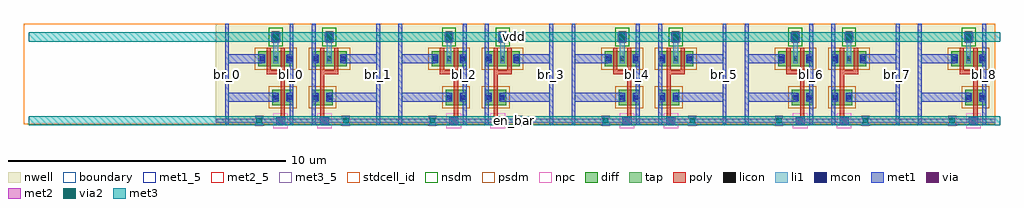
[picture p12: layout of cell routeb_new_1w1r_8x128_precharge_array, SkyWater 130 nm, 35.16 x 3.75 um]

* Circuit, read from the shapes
.subckt routeb_new_1w1r_8x128_precharge_array bl_0 bl_1 bl_2 bl_3 bl_4 bl_5 bl_6 bl_7 bl_8 br_0 br_1 br_2 br_3 br_4 br_5 br_6 br_7 br_8 en_bar vdd
XM1 vdd en_bar br_0 vdd sky130_fd_pr__pfet_01v8 w=0.55 l=0.15
XM2 bl_0 en_bar br_0 vdd sky130_fd_pr__pfet_01v8 w=0.55 l=0.15
XM3 bl_0 en_bar vdd vdd sky130_fd_pr__pfet_01v8 w=0.55 l=0.15
XM4 br_1 en_bar bl_1 vdd sky130_fd_pr__pfet_01v8 w=0.55 l=0.15
XM5 vdd en_bar bl_1 vdd sky130_fd_pr__pfet_01v8 w=0.55 l=0.15
XM6 br_1 en_bar vdd vdd sky130_fd_pr__pfet_01v8 w=0.55 l=0.15
XM7 vdd en_bar br_2 vdd sky130_fd_pr__pfet_01v8 w=0.55 l=0.15
XM8 bl_2 en_bar br_2 vdd sky130_fd_pr__pfet_01v8 w=0.55 l=0.15
XM9 bl_2 en_bar vdd vdd sky130_fd_pr__pfet_01v8 w=0.55 l=0.15
XM10 br_3 en_bar bl_3 vdd sky130_fd_pr__pfet_01v8 w=0.55 l=0.15
XM11 vdd en_bar bl_3 vdd sky130_fd_pr__pfet_01v8 w=0.55 l=0.15
XM12 br_3 en_bar vdd vdd sky130_fd_pr__pfet_01v8 w=0.55 l=0.15
XM13 vdd en_bar br_4 vdd sky130_fd_pr__pfet_01v8 w=0.55 l=0.15
XM14 bl_4 en_bar br_4 vdd sky130_fd_pr__pfet_01v8 w=0.55 l=0.15
XM15 bl_4 en_bar vdd vdd sky130_fd_pr__pfet_01v8 w=0.55 l=0.15
XM16 br_5 en_bar bl_5 vdd sky130_fd_pr__pfet_01v8 w=0.55 l=0.15
XM17 vdd en_bar bl_5 vdd sky130_fd_pr__pfet_01v8 w=0.55 l=0.15
XM18 br_5 en_bar vdd vdd sky130_fd_pr__pfet_01v8 w=0.55 l=0.15
XM19 vdd en_bar br_6 vdd sky130_fd_pr__pfet_01v8 w=0.55 l=0.15
XM20 bl_6 en_bar br_6 vdd sky130_fd_pr__pfet_01v8 w=0.55 l=0.15
XM21 bl_6 en_bar vdd vdd sky130_fd_pr__pfet_01v8 w=0.55 l=0.15
XM22 br_7 en_bar bl_7 vdd sky130_fd_pr__pfet_01v8 w=0.55 l=0.15
XM23 vdd en_bar bl_7 vdd sky130_fd_pr__pfet_01v8 w=0.55 l=0.15
XM24 br_7 en_bar vdd vdd sky130_fd_pr__pfet_01v8 w=0.55 l=0.15
XM25 vdd en_bar br_8 vdd sky130_fd_pr__pfet_01v8 w=0.55 l=0.15
XM26 bl_8 en_bar br_8 vdd sky130_fd_pr__pfet_01v8 w=0.55 l=0.15
XM27 bl_8 en_bar vdd vdd sky130_fd_pr__pfet_01v8 w=0.55 l=0.15
.ends

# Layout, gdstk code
from math import pi, radians
import gdstk
lib = gdstk.Library(unit=1e-6, precision=1e-09)
def R(c, l, rs):  # rectangles x0, y0, x1, y1
    for r in rs: c.add(gdstk.rectangle(r[:2], r[2:], *l))
def A(c, l, x, y, w, h, nx, ny, dx, dy):  # array of equal rectangles
    R(c, l, [(x+i*dx, y+j*dy, x+i*dx+w, y+j*dy+h) for i in range(nx) for j in range(ny)])
nwell = (64, 20)
diff = (65, 20)
tap = (65, 44)
poly = (66, 20)
licon = (66, 44)
li1 = (67, 20)
mcon = (67, 44)
met1_5 = (68, 5)
met1 = (68, 20)
via = (68, 44)
met2_5 = (69, 5)
met2 = (69, 20)
via2 = (69, 44)
met3_5 = (70, 5)
met3 = (70, 20)
stdcell_id = (81, 4)
nsdm = (93, 44)
psdm = (94, 20)
npc = (95, 20)
boundary = (235, 4)

routeb_new_1w1r_8x128_co = lib.new_cell('routeb_new_1w1r_8x128_contact_11')
R(routeb_new_1w1r_8x128_co, nwell, [(-0.295,-0.255,0.545,0.585)])
R(routeb_new_1w1r_8x128_co, diff, [(0,0.02,0.25,0.31)])
R(routeb_new_1w1r_8x128_co, licon, [(0.04,0.08,0.21,0.25)])
R(routeb_new_1w1r_8x128_co, li1, [(0.04,0,0.21,0.33)])
R(routeb_new_1w1r_8x128_co, stdcell_id, [(-0.295,-0.255,0.545,0.585)])
R(routeb_new_1w1r_8x128_co, psdm, [(-0.125,-0.105,0.375,0.435)])
R(routeb_new_1w1r_8x128_co, boundary, [(-0.295,-0.255,0.545,0.585)])

routeb_new_1w1r_8x128_pm = lib.new_cell('routeb_new_1w1r_8x128_pmos_m1_w0_550_sli_dli')
R(routeb_new_1w1r_8x128_pm, nwell, [(-0.27,-0.27,1.02,0.82)])
R(routeb_new_1w1r_8x128_pm, diff, [(0,0,0.75,0.55)])
R(routeb_new_1w1r_8x128_pm, poly, [(0.3,-0.13,0.45,0.68), (0.3,-0.13,0.45,0.68)])
R(routeb_new_1w1r_8x128_pm, li1, [(0.04,0.11,0.21,0.44), (0.54,0.11,0.71,0.44)])
R(routeb_new_1w1r_8x128_pm, stdcell_id, [(-0.27,-0.27,1.02,0.82)])
R(routeb_new_1w1r_8x128_pm, psdm, [(-0.125,-0.125,0.875,0.675)])
R(routeb_new_1w1r_8x128_pm, boundary, [(-0.27,-0.27,1.02,0.82)])
routeb_new_1w1r_8x128_pm.add(gdstk.Reference(routeb_new_1w1r_8x128_co, (0,0.11)))
routeb_new_1w1r_8x128_pm.add(gdstk.Reference(routeb_new_1w1r_8x128_co, (0.5,0.11)))
routeb_new_1w1r_8x128_pm.add(gdstk.Label('G', (0.375,0.275), layer=66, texttype=5))
routeb_new_1w1r_8x128_pm.add(gdstk.Label('S', (0.125,0.275), layer=67, texttype=5))
routeb_new_1w1r_8x128_pm.add(gdstk.Label('D', (0.625,0.275), layer=67, texttype=5))

c_routeb_new_1w1r_8x128_co = lib.new_cell('routeb_new_1w1r_8x128_contact_15')
R(c_routeb_new_1w1r_8x128_co, poly, [(0,0,0.33,0.33)])
R(c_routeb_new_1w1r_8x128_co, licon, [(0.08,0.08,0.25,0.25)])
R(c_routeb_new_1w1r_8x128_co, li1, [(0.08,0,0.25,0.33)])
R(c_routeb_new_1w1r_8x128_co, stdcell_id, [(-0.1,-0.1,0.43,0.43)])
R(c_routeb_new_1w1r_8x128_co, npc, [(-0.1,-0.1,0.43,0.43)])
R(c_routeb_new_1w1r_8x128_co, boundary, [(-0.1,-0.1,0.43,0.43)])

c_routeb_new_1w1r_8x128_co_ = lib.new_cell('routeb_new_1w1r_8x128_contact_13')
R(c_routeb_new_1w1r_8x128_co_, li1, [(0.06,0,0.23,0.33)])
R(c_routeb_new_1w1r_8x128_co_, mcon, [(0.06,0.08,0.23,0.25)])
R(c_routeb_new_1w1r_8x128_co_, met1, [(0,0.05,0.29,0.28)])
R(c_routeb_new_1w1r_8x128_co_, stdcell_id, [(0,0,0.29,0.33)])
R(c_routeb_new_1w1r_8x128_co_, boundary, [(0,0,0.29,0.33)])

c_routeb_new_1w1r_8x128_co__ = lib.new_cell('routeb_new_1w1r_8x128_contact_18')
R(c_routeb_new_1w1r_8x128_co__, met1, [(0,0.03,0.32,0.29)])
R(c_routeb_new_1w1r_8x128_co__, via, [(0.085,0.085,0.235,0.235)])
R(c_routeb_new_1w1r_8x128_co__, met2, [(0.03,0,0.29,0.32)])
R(c_routeb_new_1w1r_8x128_co__, stdcell_id, [(0,0,0.32,0.32)])
R(c_routeb_new_1w1r_8x128_co__, boundary, [(0,0,0.32,0.32)])

c_routeb_new_1w1r_8x128_co___ = lib.new_cell('routeb_new_1w1r_8x128_contact_12')
R(c_routeb_new_1w1r_8x128_co___, nwell, [(-0.295,-0.215,0.545,0.625)])
R(c_routeb_new_1w1r_8x128_co___, tap, [(0,0,0.25,0.41)])
R(c_routeb_new_1w1r_8x128_co___, licon, [(0.04,0.12,0.21,0.29)])
R(c_routeb_new_1w1r_8x128_co___, li1, [(0.04,0.04,0.21,0.37)])
R(c_routeb_new_1w1r_8x128_co___, stdcell_id, [(-0.295,-0.215,0.545,0.625)])
R(c_routeb_new_1w1r_8x128_co___, nsdm, [(-0.125,-0.125,0.375,0.535)])
R(c_routeb_new_1w1r_8x128_co___, boundary, [(-0.295,-0.215,0.545,0.625)])

c_routeb_new_1w1r_8x128_co____ = lib.new_cell('routeb_new_1w1r_8x128_contact_23')
R(c_routeb_new_1w1r_8x128_co____, li1, [(0.03,0,0.2,0.33)])
R(c_routeb_new_1w1r_8x128_co____, mcon, [(0.03,0.08,0.2,0.25)])
R(c_routeb_new_1w1r_8x128_co____, met1, [(0,0.02,0.23,0.31)])
R(c_routeb_new_1w1r_8x128_co____, stdcell_id, [(0,0,0.23,0.33)])
R(c_routeb_new_1w1r_8x128_co____, boundary, [(0,0,0.23,0.33)])

routeb_new_1w1r_8x128_pr = lib.new_cell('routeb_new_1w1r_8x128_precharge_0')
R(routeb_new_1w1r_8x128_pr, nwell, [(0,0,3.12,3.61)])
R(routeb_new_1w1r_8x128_pr, poly, [(0.64,0.05,0.79,0.2), (0.715,0.05,0.79,0.2), (0.64,0.125,0.79,0.56), (0.64,1.37,0.79,1.95), (0.64,1.8,1.29,1.95)])
R(routeb_new_1w1r_8x128_pr, li1, [(0.88,2.355,1.05,3.14), (0.88,3.055,1.05,3.225)])
R(routeb_new_1w1r_8x128_pr, met1_5, [(0.33,0,0.47,3.61), (2.65,0,2.79,3.61)])
R(routeb_new_1w1r_8x128_pr, met1, [(0.63,-0.005,0.95,0.255), (0.33,0,0.47,3.61), (0.33,0,0.47,3.61), (2.65,0,2.79,3.61), (2.65,0,2.79,3.61), (0.4,0.8,0.465,1.13), (0.965,0.8,2.72,1.13), (0.4,2.19,0.465,2.52), (1.465,2.19,2.72,2.52)])
R(routeb_new_1w1r_8x128_pr, met2_5, [(0,0.055,3.12,0.195)])
R(routeb_new_1w1r_8x128_pr, met2, [(0,0.055,3.12,0.195)])
R(routeb_new_1w1r_8x128_pr, stdcell_id, [(0,0,3.12,3.61)])
R(routeb_new_1w1r_8x128_pr, boundary, [(0,0,3.12,3.61)])
routeb_new_1w1r_8x128_pr.add(gdstk.Reference(routeb_new_1w1r_8x128_pm, (0.34,0.69)))
routeb_new_1w1r_8x128_pr.add(gdstk.Reference(routeb_new_1w1r_8x128_pm, (0.34,2.08)))
routeb_new_1w1r_8x128_pr.add(gdstk.Reference(routeb_new_1w1r_8x128_pm, (0.84,2.08)))
routeb_new_1w1r_8x128_pr.add(gdstk.Reference(c_routeb_new_1w1r_8x128_co, (0.625,-0.04)))
routeb_new_1w1r_8x128_pr.add(gdstk.Reference(c_routeb_new_1w1r_8x128_co_, (0.645,-0.04)))
routeb_new_1w1r_8x128_pr.add(gdstk.Reference(c_routeb_new_1w1r_8x128_co__, (0.63,-0.035)))
routeb_new_1w1r_8x128_pr.add(gdstk.Reference(c_routeb_new_1w1r_8x128_co___, (0.84,2.935)))
routeb_new_1w1r_8x128_pr.add(gdstk.Reference(c_routeb_new_1w1r_8x128_co_, (0.82,2.975)))
routeb_new_1w1r_8x128_pr.add(gdstk.Reference(c_routeb_new_1w1r_8x128_co____, (0.35,0.8)))
routeb_new_1w1r_8x128_pr.add(gdstk.Reference(c_routeb_new_1w1r_8x128_co____, (0.85,0.8)))
routeb_new_1w1r_8x128_pr.add(gdstk.Reference(c_routeb_new_1w1r_8x128_co____, (0.35,2.19)))
routeb_new_1w1r_8x128_pr.add(gdstk.Reference(c_routeb_new_1w1r_8x128_co____, (1.35,2.19)))
routeb_new_1w1r_8x128_pr.add(gdstk.Label('en_bar', (1.56,0.125), layer=69, texttype=5))
routeb_new_1w1r_8x128_pr.add(gdstk.Label('vdd', (0.965,3.14), layer=67, texttype=5))
routeb_new_1w1r_8x128_pr.add(gdstk.Label('bl', (0.4,1.805), layer=68, texttype=5))
routeb_new_1w1r_8x128_pr.add(gdstk.Label('br', (2.72,1.805), layer=68, texttype=5))

c_routeb_new_1w1r_8x128_co_____ = lib.new_cell('routeb_new_1w1r_8x128_contact_21')
R(c_routeb_new_1w1r_8x128_co_____, met2, [(0.025,0,0.305,0.37)])
R(c_routeb_new_1w1r_8x128_co_____, via2, [(0.065,0.085,0.265,0.285)])
R(c_routeb_new_1w1r_8x128_co_____, met3, [(0,0.02,0.33,0.35)])
R(c_routeb_new_1w1r_8x128_co_____, stdcell_id, [(0,0,0.33,0.37)])
R(c_routeb_new_1w1r_8x128_co_____, boundary, [(0,0,0.33,0.37)])

c_routeb_new_1w1r_8x128_pr = lib.new_cell('routeb_new_1w1r_8x128_precharge_array')
R(c_routeb_new_1w1r_8x128_pr, met1_5, [(7.245,0,7.385,3.61), (9.565,0,9.705,3.61), (10.365,0,10.505,3.61), (12.685,0,12.825,3.61), (13.485,0,13.625,3.61), (15.805,0,15.945,3.61), (16.605,0,16.745,3.61), (18.925,0,19.065,3.61), (19.725,0,19.865,3.61), (22.045,0,22.185,3.61), (22.845,0,22.985,3.61), (25.165,0,25.305,3.61), (25.965,0,26.105,3.61), (28.285,0,28.425,3.61), (29.085,0,29.225,3.61), (31.405,0,31.545,3.61), (32.205,0,32.345,3.61), (34.525,0,34.665,3.61)])
R(c_routeb_new_1w1r_8x128_pr, met1, [(7.245,0,7.385,3.61), (9.565,0,9.705,3.61), (10.365,0,10.505,3.61), (12.685,0,12.825,3.61), (13.485,0,13.625,3.61), (15.805,0,15.945,3.61), (16.605,0,16.745,3.61), (18.925,0,19.065,3.61), (19.725,0,19.865,3.61), (22.045,0,22.185,3.61), (22.845,0,22.985,3.61), (25.165,0,25.305,3.61), (25.965,0,26.105,3.61), (28.285,0,28.425,3.61), (29.085,0,29.225,3.61), (31.405,0,31.545,3.61), (32.205,0,32.345,3.61), (34.525,0,34.665,3.61), (8.91,3.01,9.23,3.27), (10.84,3.01,11.16,3.27), (15.15,3.01,15.47,3.27), (17.08,3.01,17.4,3.27), (21.39,3.01,21.71,3.27), (23.32,3.01,23.64,3.27), (27.63,3.01,27.95,3.27), (29.56,3.01,29.88,3.27), (33.87,3.01,34.19,3.27)])
A(c_routeb_new_1w1r_8x128_pr, met2, 8.335, 0, 0.28, 0.245, 9, 1, 3.12, 0)
R(c_routeb_new_1w1r_8x128_pr, met2, [(8.93,3.02,9.21,3.265), (10.86,3.02,11.14,3.265), (15.17,3.02,15.45,3.265), (17.1,3.02,17.38,3.265), (21.41,3.02,21.69,3.265), (23.34,3.02,23.62,3.265), (27.65,3.02,27.93,3.265), (29.58,3.02,29.86,3.265), (33.89,3.02,34.17,3.265)])
R(c_routeb_new_1w1r_8x128_pr, met3_5, [(0.165,-0.04,35.16,0.29), (0.165,2.975,35.16,3.305)])
R(c_routeb_new_1w1r_8x128_pr, met3, [(0.165,-0.04,35.16,0.29), (0.165,2.975,35.16,3.305)])
R(c_routeb_new_1w1r_8x128_pr, stdcell_id, [(0,0,34.995,3.61)])
R(c_routeb_new_1w1r_8x128_pr, boundary, [(0,0,34.995,3.61)])
c_routeb_new_1w1r_8x128_pr.add(gdstk.Reference(routeb_new_1w1r_8x128_pr, (10.035,0), rotation=pi, x_reflection=True))
c_routeb_new_1w1r_8x128_pr.add(gdstk.Reference(routeb_new_1w1r_8x128_pr, (10.035,0)))
c_routeb_new_1w1r_8x128_pr.add(gdstk.Reference(routeb_new_1w1r_8x128_pr, (16.275,0), rotation=pi, x_reflection=True))
c_routeb_new_1w1r_8x128_pr.add(gdstk.Reference(routeb_new_1w1r_8x128_pr, (16.275,0)))
c_routeb_new_1w1r_8x128_pr.add(gdstk.Reference(routeb_new_1w1r_8x128_pr, (22.515,0), rotation=pi, x_reflection=True))
c_routeb_new_1w1r_8x128_pr.add(gdstk.Reference(routeb_new_1w1r_8x128_pr, (22.515,0)))
c_routeb_new_1w1r_8x128_pr.add(gdstk.Reference(routeb_new_1w1r_8x128_pr, (28.755,0), rotation=pi, x_reflection=True))
c_routeb_new_1w1r_8x128_pr.add(gdstk.Reference(routeb_new_1w1r_8x128_pr, (28.755,0)))
c_routeb_new_1w1r_8x128_pr.add(gdstk.Reference(routeb_new_1w1r_8x128_pr, (34.995,0), rotation=pi, x_reflection=True))
c_routeb_new_1w1r_8x128_pr.add(gdstk.Reference(c_routeb_new_1w1r_8x128_co_____, (8.31,-0.06)))
c_routeb_new_1w1r_8x128_pr.add(gdstk.Reference(c_routeb_new_1w1r_8x128_co_____, (11.43,-0.06)))
c_routeb_new_1w1r_8x128_pr.add(gdstk.Reference(c_routeb_new_1w1r_8x128_co_____, (14.55,-0.06)))
c_routeb_new_1w1r_8x128_pr.add(gdstk.Reference(c_routeb_new_1w1r_8x128_co_____, (17.67,-0.06)))
c_routeb_new_1w1r_8x128_pr.add(gdstk.Reference(c_routeb_new_1w1r_8x128_co_____, (20.79,-0.06)))
c_routeb_new_1w1r_8x128_pr.add(gdstk.Reference(c_routeb_new_1w1r_8x128_co_____, (23.91,-0.06)))
c_routeb_new_1w1r_8x128_pr.add(gdstk.Reference(c_routeb_new_1w1r_8x128_co_____, (27.03,-0.06)))
c_routeb_new_1w1r_8x128_pr.add(gdstk.Reference(c_routeb_new_1w1r_8x128_co_____, (30.15,-0.06)))
c_routeb_new_1w1r_8x128_pr.add(gdstk.Reference(c_routeb_new_1w1r_8x128_co_____, (33.27,-0.06)))
c_routeb_new_1w1r_8x128_pr.add(gdstk.Reference(c_routeb_new_1w1r_8x128_co_____, (8.31,-0.06)))
c_routeb_new_1w1r_8x128_pr.add(gdstk.Reference(c_routeb_new_1w1r_8x128_co_____, (11.43,-0.06)))
c_routeb_new_1w1r_8x128_pr.add(gdstk.Reference(c_routeb_new_1w1r_8x128_co_____, (14.55,-0.06)))
c_routeb_new_1w1r_8x128_pr.add(gdstk.Reference(c_routeb_new_1w1r_8x128_co_____, (17.67,-0.06)))
c_routeb_new_1w1r_8x128_pr.add(gdstk.Reference(c_routeb_new_1w1r_8x128_co_____, (20.79,-0.06)))
c_routeb_new_1w1r_8x128_pr.add(gdstk.Reference(c_routeb_new_1w1r_8x128_co_____, (23.91,-0.06)))
c_routeb_new_1w1r_8x128_pr.add(gdstk.Reference(c_routeb_new_1w1r_8x128_co_____, (27.03,-0.06)))
c_routeb_new_1w1r_8x128_pr.add(gdstk.Reference(c_routeb_new_1w1r_8x128_co_____, (30.15,-0.06)))
c_routeb_new_1w1r_8x128_pr.add(gdstk.Reference(c_routeb_new_1w1r_8x128_co_____, (33.27,-0.06)))
c_routeb_new_1w1r_8x128_pr.add(gdstk.Reference(c_routeb_new_1w1r_8x128_co_, (8.925,2.975)))
c_routeb_new_1w1r_8x128_pr.add(gdstk.Reference(c_routeb_new_1w1r_8x128_co__, (8.91,2.98)))
c_routeb_new_1w1r_8x128_pr.add(gdstk.Reference(c_routeb_new_1w1r_8x128_co_____, (8.905,2.955)))
c_routeb_new_1w1r_8x128_pr.add(gdstk.Reference(c_routeb_new_1w1r_8x128_co_, (10.855,2.975)))
c_routeb_new_1w1r_8x128_pr.add(gdstk.Reference(c_routeb_new_1w1r_8x128_co__, (10.84,2.98)))
c_routeb_new_1w1r_8x128_pr.add(gdstk.Reference(c_routeb_new_1w1r_8x128_co_____, (10.835,2.955)))
c_routeb_new_1w1r_8x128_pr.add(gdstk.Reference(c_routeb_new_1w1r_8x128_co_, (15.165,2.975)))
c_routeb_new_1w1r_8x128_pr.add(gdstk.Reference(c_routeb_new_1w1r_8x128_co__, (15.15,2.98)))
c_routeb_new_1w1r_8x128_pr.add(gdstk.Reference(c_routeb_new_1w1r_8x128_co_____, (15.145,2.955)))
c_routeb_new_1w1r_8x128_pr.add(gdstk.Reference(c_routeb_new_1w1r_8x128_co_, (17.095,2.975)))
c_routeb_new_1w1r_8x128_pr.add(gdstk.Reference(c_routeb_new_1w1r_8x128_co__, (17.08,2.98)))
c_routeb_new_1w1r_8x128_pr.add(gdstk.Reference(c_routeb_new_1w1r_8x128_co_____, (17.075,2.955)))
c_routeb_new_1w1r_8x128_pr.add(gdstk.Reference(c_routeb_new_1w1r_8x128_co_, (21.405,2.975)))
c_routeb_new_1w1r_8x128_pr.add(gdstk.Reference(c_routeb_new_1w1r_8x128_co__, (21.39,2.98)))
c_routeb_new_1w1r_8x128_pr.add(gdstk.Reference(c_routeb_new_1w1r_8x128_co_____, (21.385,2.955)))
c_routeb_new_1w1r_8x128_pr.add(gdstk.Reference(c_routeb_new_1w1r_8x128_co_, (23.335,2.975)))
c_routeb_new_1w1r_8x128_pr.add(gdstk.Reference(c_routeb_new_1w1r_8x128_co__, (23.32,2.98)))
c_routeb_new_1w1r_8x128_pr.add(gdstk.Reference(c_routeb_new_1w1r_8x128_co_____, (23.315,2.955)))
c_routeb_new_1w1r_8x128_pr.add(gdstk.Reference(c_routeb_new_1w1r_8x128_co_, (27.645,2.975)))
c_routeb_new_1w1r_8x128_pr.add(gdstk.Reference(c_routeb_new_1w1r_8x128_co__, (27.63,2.98)))
c_routeb_new_1w1r_8x128_pr.add(gdstk.Reference(c_routeb_new_1w1r_8x128_co_____, (27.625,2.955)))
c_routeb_new_1w1r_8x128_pr.add(gdstk.Reference(c_routeb_new_1w1r_8x128_co_, (29.575,2.975)))
c_routeb_new_1w1r_8x128_pr.add(gdstk.Reference(c_routeb_new_1w1r_8x128_co__, (29.56,2.98)))
c_routeb_new_1w1r_8x128_pr.add(gdstk.Reference(c_routeb_new_1w1r_8x128_co_____, (29.555,2.955)))
c_routeb_new_1w1r_8x128_pr.add(gdstk.Reference(c_routeb_new_1w1r_8x128_co_, (33.885,2.975)))
c_routeb_new_1w1r_8x128_pr.add(gdstk.Reference(c_routeb_new_1w1r_8x128_co__, (33.87,2.98)))
c_routeb_new_1w1r_8x128_pr.add(gdstk.Reference(c_routeb_new_1w1r_8x128_co_____, (33.865,2.955)))
c_routeb_new_1w1r_8x128_pr.add(gdstk.Label('en_bar', (17.662,0.125), layer=70, texttype=5))
c_routeb_new_1w1r_8x128_pr.add(gdstk.Label('bl_0', (9.635,1.805), layer=68, texttype=5))
c_routeb_new_1w1r_8x128_pr.add(gdstk.Label('br_0', (7.315,1.805), layer=68, texttype=5))
c_routeb_new_1w1r_8x128_pr.add(gdstk.Label('bl_1', (10.435,1.805), layer=68, texttype=5))
c_routeb_new_1w1r_8x128_pr.add(gdstk.Label('br_1', (12.755,1.805), layer=68, texttype=5))
c_routeb_new_1w1r_8x128_pr.add(gdstk.Label('bl_2', (15.875,1.805), layer=68, texttype=5))
c_routeb_new_1w1r_8x128_pr.add(gdstk.Label('br_2', (13.555,1.805), layer=68, texttype=5))
c_routeb_new_1w1r_8x128_pr.add(gdstk.Label('bl_3', (16.675,1.805), layer=68, texttype=5))
c_routeb_new_1w1r_8x128_pr.add(gdstk.Label('br_3', (18.995,1.805), layer=68, texttype=5))
c_routeb_new_1w1r_8x128_pr.add(gdstk.Label('bl_4', (22.115,1.805), layer=68, texttype=5))
c_routeb_new_1w1r_8x128_pr.add(gdstk.Label('br_4', (19.795,1.805), layer=68, texttype=5))
c_routeb_new_1w1r_8x128_pr.add(gdstk.Label('bl_5', (22.915,1.805), layer=68, texttype=5))
c_routeb_new_1w1r_8x128_pr.add(gdstk.Label('br_5', (25.235,1.805), layer=68, texttype=5))
c_routeb_new_1w1r_8x128_pr.add(gdstk.Label('bl_6', (28.355,1.805), layer=68, texttype=5))
c_routeb_new_1w1r_8x128_pr.add(gdstk.Label('br_6', (26.035,1.805), layer=68, texttype=5))
c_routeb_new_1w1r_8x128_pr.add(gdstk.Label('bl_7', (29.155,1.805), layer=68, texttype=5))
c_routeb_new_1w1r_8x128_pr.add(gdstk.Label('br_7', (31.475,1.805), layer=68, texttype=5))
c_routeb_new_1w1r_8x128_pr.add(gdstk.Label('bl_8', (34.595,1.805), layer=68, texttype=5))
c_routeb_new_1w1r_8x128_pr.add(gdstk.Label('br_8', (32.275,1.805), layer=68, texttype=5))
c_routeb_new_1w1r_8x128_pr.add(gdstk.Label('vdd', (17.662,3.14), layer=70, texttype=5))

lib.write_gds('routeb_new_1w1r_8x128_precharge_array.gds')
